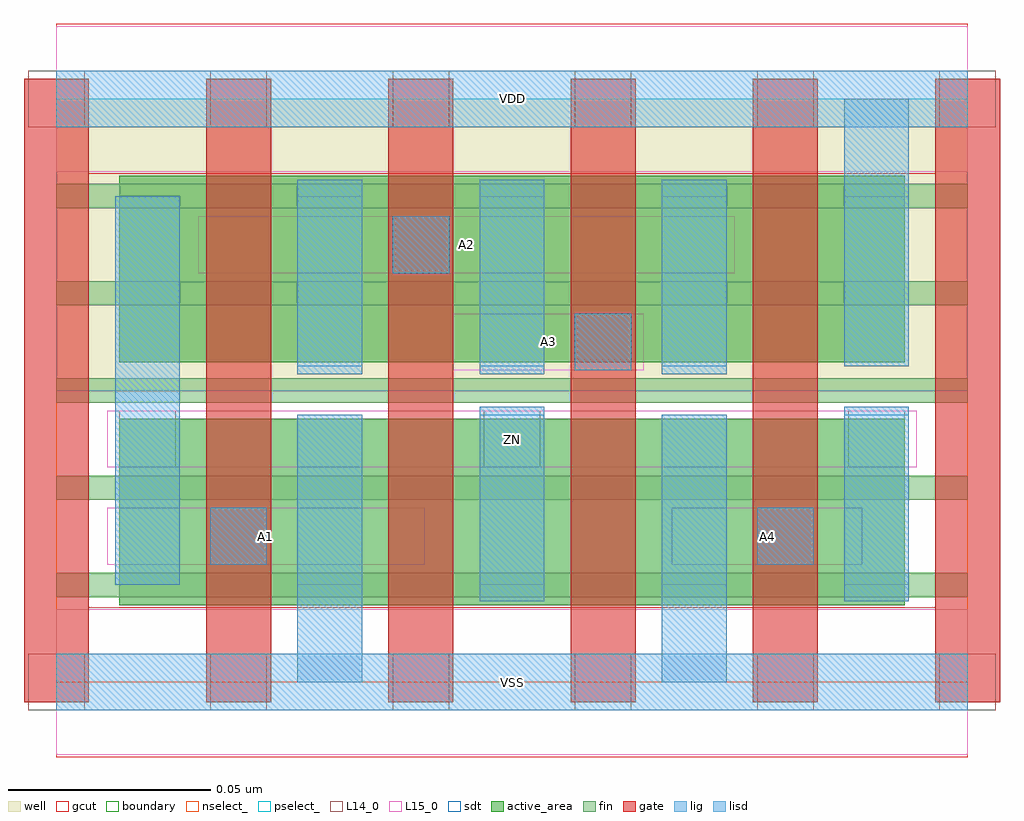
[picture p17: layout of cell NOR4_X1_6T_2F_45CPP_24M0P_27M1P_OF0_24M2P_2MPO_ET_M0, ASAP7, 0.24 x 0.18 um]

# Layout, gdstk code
import gdstk
lib = gdstk.Library(unit=1e-6, precision=2.5e-10)
def R(c, l, rs):  # rectangles x0, y0, x1, y1
    for r in rs: c.add(gdstk.rectangle(r[:2], r[2:], *l))
def A(c, l, x, y, w, h, nx, ny, dx, dy):  # array of equal rectangles
    R(c, l, [(x+i*dx, y+j*dy, x+i*dx+w, y+j*dy+h) for i in range(nx) for j in range(ny)])
well = (1, 0)
fin = (2, 0)
gate = (7, 0)
gcut = (10, 0)
active_area = (11, 0)
nselect_ = (12, 0)
pselect_ = (13, 0)
L14_0 = (14, 0)
L15_0 = (15, 0)
lig = (16, 0)
lisd = (17, 0)
sdt = (88, 0)
boundary = (100, 0)

nor4_x1_6t_2f_45cpp_24m0 = lib.new_cell('NOR4_X1_6T_2F_45CPP_24M0P_27M1P_OF0_24M2P_2MPO_ET_M0')
R(nor4_x1_6t_2f_45cpp_24m0, well, [(0,0.072,0.225,0.144)])
A(nor4_x1_6t_2f_45cpp_24m0, fin, 0, 0.021, 0.225, 0.006, 1, 5, 0, 0.024)
A(nor4_x1_6t_2f_45cpp_24m0, gate, -0.008, -0.005, 0.016, 0.154, 6, 1, 0.045, 0)
R(nor4_x1_6t_2f_45cpp_24m0, gcut, [(0,-0.0185,0.225,0.0185), (-0.008,-0.005,0.008,0.149), (0.217,-0.005,0.233,0.149), (0,0.1255,0.225,0.1625)])
A(nor4_x1_6t_2f_45cpp_24m0, active_area, 0.0155, 0.019, 0.059, 0.046, 4, 2, 0.045, 0.06)
R(nor4_x1_6t_2f_45cpp_24m0, nselect_, [(0,0,0.225,0.072)])
R(nor4_x1_6t_2f_45cpp_24m0, pselect_, [(0,0.072,0.225,0.144)])
A(nor4_x1_6t_2f_45cpp_24m0, L14_0, -0.007, -0.007, 0.014, 0.014, 6, 2, 0.045, 0.144)
A(nor4_x1_6t_2f_45cpp_24m0, L14_0, 0.0155, 0.053, 0.014, 0.014, 3, 1, 0.09, 0)
R(nor4_x1_6t_2f_45cpp_24m0, L14_0, [(0.038,0.029,0.052,0.043), (0.173,0.029,0.187,0.043), (0.128,0.077,0.142,0.091), (0.083,0.101,0.097,0.115)])
R(nor4_x1_6t_2f_45cpp_24m0, L15_0, [(0,-0.018,0.225,0.018), (0.0125,0.029,0.091,0.043), (0.152,0.029,0.199,0.043), (0.0125,0.053,0.2125,0.067), (0.098,0.077,0.145,0.091), (0.035,0.101,0.1675,0.115), (0,0.126,0.225,0.162)])
R(nor4_x1_6t_2f_45cpp_24m0, lig, [(0,-0.007,0.225,0.007), (0.038,0.029,0.052,0.043), (0.173,0.029,0.187,0.043), (0.128,0.077,0.142,0.091), (0.083,0.101,0.097,0.115), (0,0.137,0.225,0.151)])
A(nor4_x1_6t_2f_45cpp_24m0, lisd, 0.0595, 0.076, 0.016, 0.048, 3, 1, 0.045, 0)
R(nor4_x1_6t_2f_45cpp_24m0, lisd, [(0.0595,0,0.0755,0.066), (0.1495,0,0.1655,0.066), (0.1045,0.02,0.1205,0.068), (0.1945,0.02,0.2105,0.068), (0.0145,0.024,0.0305,0.12), (0.1945,0.078,0.2105,0.144)])
A(nor4_x1_6t_2f_45cpp_24m0, sdt, 0.0595, 0.024, 0.016, 0.042, 4, 2, 0.045, 0.054)
R(nor4_x1_6t_2f_45cpp_24m0, sdt, [(0.0145,0.024,0.0305,0.12)])
R(nor4_x1_6t_2f_45cpp_24m0, boundary, [(0,0,0.225,0.144)])
nor4_x1_6t_2f_45cpp_24m0.add(gdstk.Label('A3', (0.1215,0.084), layer=15, texttype=251))
nor4_x1_6t_2f_45cpp_24m0.add(gdstk.Label('ZN', (0.1125,0.06), layer=15, texttype=251))
nor4_x1_6t_2f_45cpp_24m0.add(gdstk.Label('A2', (0.1013,0.108), layer=15, texttype=251))
nor4_x1_6t_2f_45cpp_24m0.add(gdstk.Label('A1', (0.0518,0.036), layer=15, texttype=251))
nor4_x1_6t_2f_45cpp_24m0.add(gdstk.Label('A4', (0.1755,0.036), layer=15, texttype=251))
nor4_x1_6t_2f_45cpp_24m0.add(gdstk.Label('VDD', (0.1125,0.144), layer=15, texttype=251))
nor4_x1_6t_2f_45cpp_24m0.add(gdstk.Label('VSS', (0.1125,0), layer=15, texttype=251))
nor4_x1_6t_2f_45cpp_24m0.add(gdstk.Label('VDD', (0.1125,0.144), layer=1, texttype=251))
nor4_x1_6t_2f_45cpp_24m0.add(gdstk.Label('VSS', (0.1125,0), layer=3, texttype=251))

lib.write_gds('NOR4_X1_6T_2F_45CPP_24M0P_27M1P_OF0_24M2P_2MPO_ET_M0.gds')
